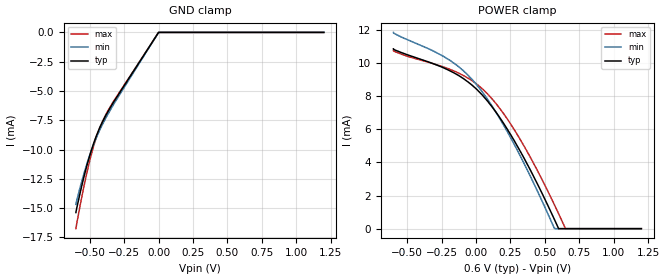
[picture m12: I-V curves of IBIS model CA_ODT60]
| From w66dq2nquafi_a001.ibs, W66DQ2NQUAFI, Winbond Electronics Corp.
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[Model]   CA_ODT60
Model_type   Input
Vinl = 0.0725
Vinh = 0.2275
|   typ   min   max
C_comp   0.82pF   0.72pF   0.92pF
[Voltage Range]   0.6   0.57   0.65
[Temperature Range]   25   95   -40
[Power Clamp Reference]   0.6   0.57   0.65
[GND Clamp Reference]   0   0   0
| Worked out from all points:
|   GND clamp passes 1 mA (typ) near -0.05 V on its own axis
[GND Clamp]
|   Voltage   I(typ)   I(min)   I(max)
-600.6mV  -15.38mA   -14.68mA   -16.75mA
-567.5mV  -13.57mA   -13.12mA   -14.62mA
-541.5mV  -12.29mA   -12.02mA   -13.09mA
-521.3mV  -11.39mA   -11.24mA   -12mA
-495.4mV  -10.32mA   -10.32mA   -10.71mA
-453.7mV  -8.884mA   -9.03mA    -9.006mA
-429.7mV  -8.192mA   -8.388mA   -8.213mA
-406.9mV  -7.62mA    -7.833mA   -7.577mA
-381.6mV  -7.041mA   -7.265mA   -6.975mA
-325.2mV  -5.919mA   -6.116mA   -5.848mA
-50uV     -910.4nA   -3.069uA   -936.8nA
1.201V    0A         0A         0A
[POWER Clamp]
|   Voltage   I(typ)   I(min)   I(max)
-600.6mV  10.85mA    11.84mA    10.75mA
-495.4mV  10.48mA    11.39mA    10.39mA
-202.1mV  9.571mA    10.22mA    9.651mA
-92.13mV  9.053mA    9.527mA    9.237mA
-360uV    8.443mA    8.73mA     8.753mA
128.6mV   7.21mA     7.233mA    7.709mA
253.3mV   5.643mA    5.458mA    6.287mA
397.1mV   3.494mA    3.116mA    4.266mA
569.6mV   550.7uA    6.715uA    1.436mA
600mV     0A         0A         901uA
650mV     0A         0A         852.8nA
1.201V    0A         0A         0A
